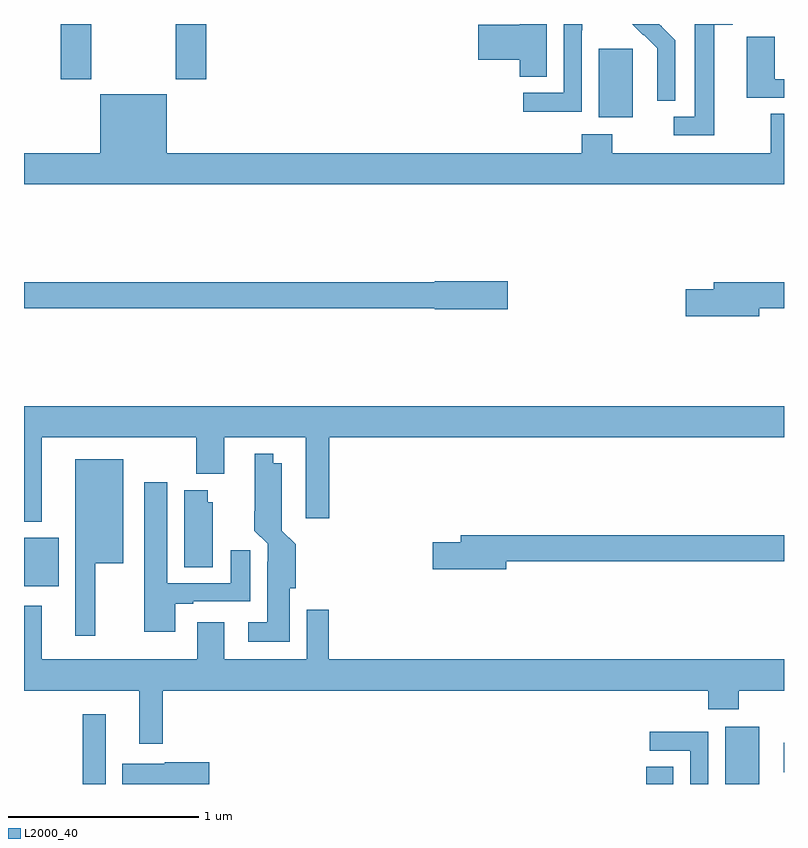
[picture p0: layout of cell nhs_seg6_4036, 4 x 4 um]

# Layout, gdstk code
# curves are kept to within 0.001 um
import gdstk
lib = gdstk.Library(unit=1e-6, precision=1e-09)
def R(c, l, rs):  # rectangles x0, y0, x1, y1
    for r in rs: c.add(gdstk.rectangle(r[:2], r[2:], *l))
def P(c, l, *ps):  # polygons
    for p in ps: c.add(gdstk.Polygon(p, *l))
L2000_40 = (2000, 40)

nhs_seg6_4036 = lib.new_cell('nhs_seg6_4036')
R(nhs_seg6_4036, L2000_40, [(349.308,957.5,349.429,957.868), (352.274,957.5,352.417,957.59), (352.691,957.5,352.87,957.802), (352.998,957.562,353,957.716), (349,958.541,349.183,958.795), (352.025,961.01,352.204,961.371), (349.193,961.209,349.353,961.5), (349.798,961.209,349.958,961.5)])
P(nhs_seg6_4036, L2000_40, [(352.633,961.496),(352.729,961.496),(352.729,961.5),(352.529,961.5),(352.529,961.011),(352.419,961.011),(352.419,960.915),(352.633,960.915)],
  [(351.751,961.5),(351.608,961.5),(351.608,961.496),(351.39,961.496),(351.39,961.313),(351.608,961.313),(351.608,961.222),(351.751,961.222)],
  [(352.428,961.414),(352.355,961.487),(352.356,961.488),(352.344,961.5),(352.2,961.5),(352.26,961.44),(352.263,961.443),(352.334,961.373),(352.334,961.25),(352.332,961.25),(352.332,961.096),(352.428,961.096)],
  [(351.936,961.468),(351.939,961.468),(351.939,961.5),(351.84,961.5),(351.84,961.137),(351.627,961.137),(351.627,961.039),(351.936,961.039)],
  [(353,961.209),(352.95,961.209),(352.95,961.433),(352.805,961.433),(352.805,961.113),(353,961.113)],
  [(353,961.028),(352.931,961.028),(352.931,960.82),(352.095,960.82),(352.095,960.919),(351.935,960.919),(351.935,960.82),(349.75,960.82),(349.75,961.129),(349.4,961.129),(349.4,960.82),(349,960.82),(349,960.656),(353,960.656)],
  [(351.547,960.146),(351.162,960.146),(351.162,960.14),(349,960.14),(349,960.004),(351.162,960.004),(351.162,959.999),(351.547,959.999)],
  [(352.87,960.004),(353,960.004),(353,960.14),(352.631,960.14),(352.631,960.104),(352.482,960.104),(352.482,959.962),(352.87,959.962)],
  [(349.093,959.324),(349.906,959.324),(349.906,959.132),(350.053,959.132),(350.053,959.324),(350.483,959.324),(350.483,958.899),(350.606,958.899),(350.606,959.324),(353,959.324),(353,959.488),(349,959.488),(349,958.88),(349.093,958.88)],
  [(350.398,958.53),(350.429,958.53),(350.429,958.762),(350.357,958.834),(350.356,959.188),(350.311,959.188),(350.311,959.239),(350.214,959.239),(350.213,958.834),(350.283,958.764),(350.283,958.67),(350.279,958.67),(350.279,958.351),(350.181,958.351),(350.181,958.25),(350.398,958.25)],
  [(349.375,958.661),(349.522,958.661),(349.522,959.209),(349.271,959.209),(349.271,958.281),(349.375,958.281)],
  [(349.795,958.449),(349.891,958.449),(349.891,958.461),(350.191,958.461),(350.191,958.729),(350.087,958.729),(350.087,958.557),(349.753,958.557),(349.753,959.089),(349.634,959.089),(349.634,958.302),(349.795,958.302)],
  [(349.993,958.983),(349.966,958.983),(349.966,959.047),(349.844,959.047),(349.844,958.642),(349.993,958.642)],
  [(351.538,958.672),(353,958.672),(353,958.808),(351.299,958.808),(351.299,958.772),(351.15,958.772),(351.15,958.63),(351.538,958.63)],
  [(349.729,957.992),(352.601,957.992),(352.601,957.893),(352.761,957.893),(352.761,957.992),(353,957.992),(353,958.156),(350.603,958.156),(350.603,958.417),(350.487,958.417),(350.487,958.156),(350.053,958.156),(350.053,958.351),(349.913,958.351),(349.913,958.156),(349.093,958.156),(349.093,958.438),(349,958.438),(349,957.992),(349.607,957.992),(349.607,957.711),(349.729,957.711)],
  [(352.602,957.774),(352.293,957.774),(352.293,957.675),(352.506,957.675),(352.506,957.5),(352.602,957.5)],
  [(349.975,957.615),(349.74,957.615),(349.74,957.607),(349.517,957.607),(349.517,957.5),(349.975,957.5)])

lib.write_gds('nhs_seg6_4036.gds')
